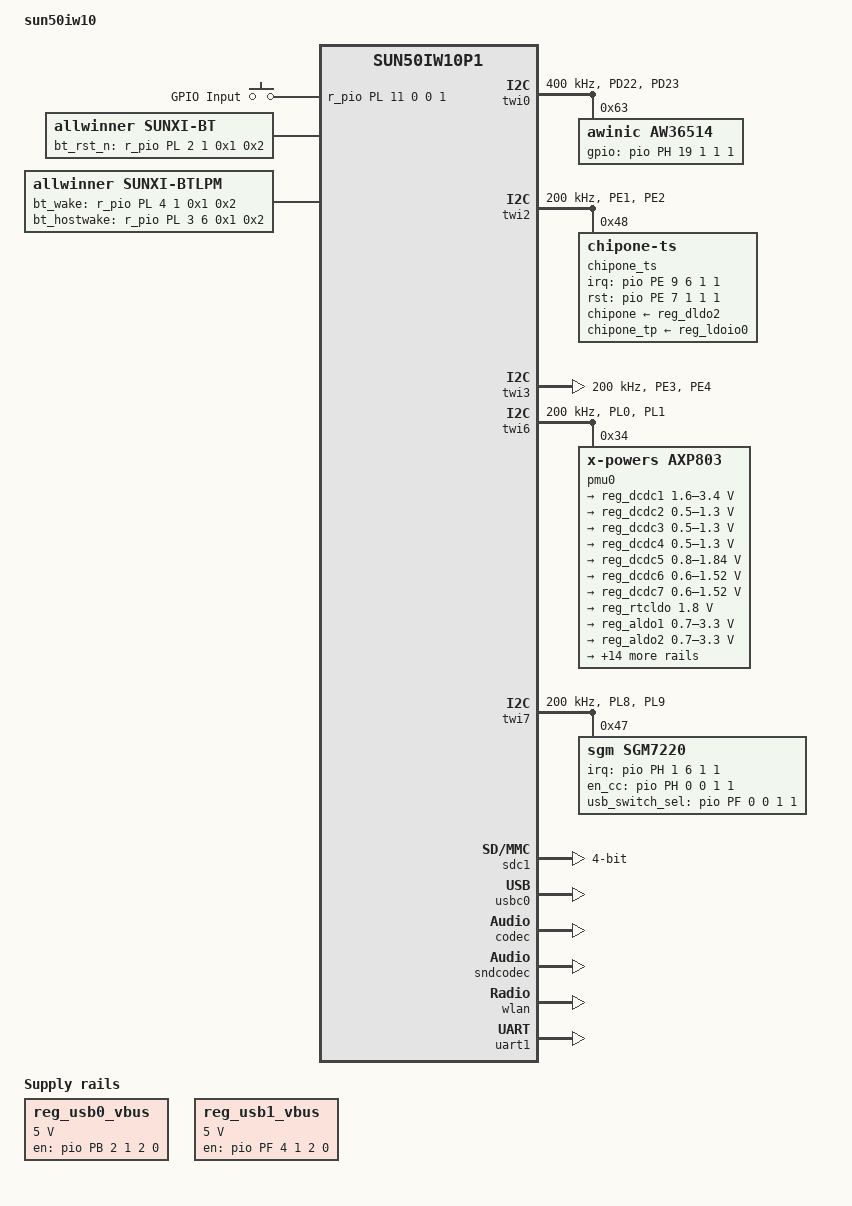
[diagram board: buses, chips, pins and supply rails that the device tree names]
/*
 * Allwinner Technology CO., Ltd. sun50iw10p1 soc board.
 *
 * soc board support.
 */

/dts-v1/;

#include "sun50iw10p1.dtsi"

/{
	model = "sun50iw10";
	compatible = "allwinner,r818", "arm,sun50iw10p1";

	aliases {
		pmu0 = &pmu0;
		standby_param = &standby_param;
	};

	reg_usb0_vbus: usb0-vbus {
		compatible = "regulator-fixed";
		gpio = <&pio PB 2 1 2 0 0>;
		regulator-name = "usb0-vbus";
		regulator-min-microvolt = <5000000>;
		regulator-max-microvolt = <5000000>;
		enable-active-high;
	};

	reg_usb1_vbus: usb1-vbus {
		compatible = "regulator-fixed";
		gpio = <&pio PF 4 1 2 0 1>;
		regulator-name = "usb1-vbus";
		regulator-min-microvolt = <5000000>;
		regulator-max-microvolt = <5000000>;
		enable-active-high;
	};

	soc@03000000 {

		r_pio: pinctrl@07022000 {

			s_twi0_pins_a: s_twi0@0 {
				allwinner,pins = "PL0", "PL1";
				allwinner,pname = "s_twi0_scl", "s_twi0_sda";
				allwinner,function = "s_twi0";
				allwinner,muxsel = <2>;
				allwinner,drive = <1>;
				allwinner,pull = <1>;
			};

			s_twi0_pins_b: s_twi0@1 {
				allwinner,pins = "PL0", "PL1";
				allwinner,function = "io_disabled";
				allwinner,muxsel = <7>;
				allwinner,drive = <1>;
				allwinner,pull = <0>;
			};
			s_twi1_pins_a: s_twi1@0 {
				allwinner,pins = "PL8", "PL9";
				allwinner,pname = "s_twi1_scl", "s_twi1_sda";
				allwinner,function = "s_twi1";
				allwinner,muxsel = <2>;
				allwinner,drive = <1>;
				allwinner,pull = <1>;
			};

			s_twi1_pins_b: s_twi1@1 {
				allwinner,pins = "PL8", "PL9";
				allwinner,function = "io_disabled";
				allwinner,muxsel = <7>;
				allwinner,drive = <1>;
				allwinner,pull = <0>;
			};
		};
		pio: pinctrl@0300b000 {
			twi0_pins_a: twi0@0 {
				allwinner,pins = "PD22", "PD23";
				allwinner,pname = "twi0_scl", "twi0_sda";
				allwinner,function = "twi0";
				allwinner,muxsel = <4>;
				allwinner,drive = <1>;
				allwinner,pull = <0>;
			};

			twi0_pins_b: twi0@1 {
				allwinner,pins = "PD22", "PD23";
				allwinner,function = "io_disabled";
				allwinner,muxsel = <7>;
				allwinner,drive = <1>;
				allwinner,pull = <0>;
			};

			twi1_pins_a: twi1@0 {
				allwinner,pins = "PH2", "PH3";
				allwinner,pname = "twi1_scl", "twi1_sda";
				allwinner,function = "twi1";
				allwinner,muxsel = <2>;
				allwinner,drive = <1>;
				allwinner,pull = <0>;
			};

			twi1_pins_b: twi1@1 {
				allwinner,pins = "PH2", "PH3";
				allwinner,function = "io_disabled";
				allwinner,muxsel = <7>;
				allwinner,drive = <1>;
				allwinner,pull = <0>;
			};

			twi2_pins_a: twi2@0 {
				allwinner,pins = "PE1", "PE2";
				allwinner,pname = "twi2_scl", "twi2_sda";
				allwinner,function = "twi2";
				allwinner,muxsel = <2>;
				allwinner,drive = <1>;
				allwinner,pull = <0>;
			};

			twi2_pins_b: twi2@1 {
				allwinner,pins = "PE1", "PE2";
				allwinner,function = "io_disabled";
				allwinner,muxsel = <7>;
				allwinner,drive = <1>;
				allwinner,pull = <0>;
			};

			twi3_pins_a: twi3@0 {
				allwinner,pins = "PE3", "PE4";
				allwinner,pname = "twi3_scl", "twi3_sda";
				allwinner,function = "twi3";
				allwinner,muxsel = <2>;
				allwinner,drive = <1>;
				allwinner,pull = <1>;
			};

			twi3_pins_b: twi3@1 {
				allwinner,pins = "PE3", "PE4";
				allwinner,function = "io_disabled";
				allwinner,muxsel = <7>;
				allwinner,drive = <1>;
				allwinner,pull = <0>;
			};

			pwm2_pin_a: pwm2@0 {
				allwinner,pins = "PD20";
				allwinner,function = "pwm2";
				allwinner,muxsel = <0x02>;
				allwinner,drive = <0x2>;
				allwinner,pull = <0>;
				allwinner,data = <0xffffffff>;
			};

			pwm2_pin_b: pwm2@1 {
				allwinner,pins = "PD20";
				allwinner,function = "io_disabled";
				allwinner,muxsel = <0x07>;
				allwinner,drive = <0x2>;
				allwinner,pull = <0>;
				allwinner,data = <0xffffffff>;
			};

			pwm3_pin_a: pwm3@0 {
				allwinner,pins = "PD21";
				allwinner,function = "pwm3";
				allwinner,muxsel = <0x03>;
				allwinner,drive = <0x2>;
				allwinner,pull = <0>;
				allwinner,data = <0xffffffff>;
			};

			pwm3_pin_b: pwm3@1 {
				allwinner,pins = "PD21";
				allwinner,function = "io_disabled";
				allwinner,muxsel = <0x07>;
				allwinner,drive = <0x2>;
				allwinner,pull = <0>;
				allwinner,data = <0xffffffff>;
			};
/*
			ledc_pins_a: ledc@0 {
				allwinner,pins = "PH19";
				allwinner,function = "ledc";
				allwinner,muxsel = <5>;
			};

			ledc_pins_b: ledc@1 {
				allwinner,pins = "PH19";
				allwinner,function = "io_disabled";
				allwinner,muxsel = <7>;
			};
*/
			usb1_vbus_pin_a: usb1_vbus_pin@0 {
				allwinner,pins = "PF4";
				allwinner,function = "gpio_out";
				allwinner,muxsel = <0x01>;
				allwinner,drive = <0x2>;
				allwinner,pull = <0>;
				allwinner,data = <0x0>;
			};

			spi0_pins_a: spi0@0 {
				allwinner,pins = "PC2", "PC4", "PC12", "PC15", "PC16";
				allwinner,pname = "spi0_mosi", "spi0_miso",
						  "spi0_sclk", "spi0_wp", "spi0_hold";
				allwinner,function = "spi0";
				allwinner,muxsel = <4>;
				allwinner,drive = <1>;
				allwinner,pull = <0>;
			};

			spi0_pins_b: spi0@1 {
				allwinner,pins = "PC3", "PC7";
				allwinner,pname = "spi0_cs0", "spi0_cs1";
				allwinner,function = "spi0";
				allwinner,muxsel = <4>;
				allwinner,drive = <1>;
				allwinner,pull = <1>;	/* only CS should be pulled up */
			};

			spi0_pins_c: spi0@2 {
				allwinner,pins = "PC2", "PC3", "PC4", "PC7", "PC12", "PC15", "PC16";
				allwinner,function = "io_disabled";
				allwinner,muxsel = <7>;
				allwinner,drive = <1>;
				allwinner,pull = <0>;
			};

			spi1_pins_a: spi1@0 {
				allwinner,pins = "PD11", "PD12", "PD13";
				allwinner,pname = "spi1_sclk", "spi1_mosi",
						  "spi1_miso";
				allwinner,function = "spi1";
				allwinner,muxsel = <4>;
				allwinner,drive = <1>;
				allwinner,pull = <0>;
			};

			spi1_pins_b: spi1@1 {
				allwinner,pins = "PD10";
				allwinner,pname = "spi1_cs0";
				allwinner,function = "spi1";
				allwinner,muxsel = <4>;
				allwinner,drive = <1>;
				allwinner,pull = <1>;	/* only CS should be pulled up */
			};

			spi1_pins_c: spi1@2 {
				allwinner,pins = "PD10", "PD11", "PD12", "PD13";
				allwinner,function = "io_disabled";
				allwinner,muxsel = <7>;
				allwinner,drive = <1>;
				allwinner,pull = <0>;
			};

			spi2_pins_a: spi2@0 {
				allwinner,pins = "PB1", "PB2", "PB3";
				allwinner,pname = "spi2_sclk", "spi2_mosi",
						  "spi2_miso";
				allwinner,function = "spi2";
				allwinner,muxsel = <3>;
				allwinner,drive = <1>;
				allwinner,pull = <0>;
			};

			spi2_pins_b: spi2@1 {
				allwinner,pins = "PB0";
				allwinner,pname = "spi2_cs0";
				allwinner,function = "spi2";
				allwinner,muxsel = <3>;
				allwinner,drive = <1>;
				allwinner,pull = <1>;	/* only CS should be pulled up */
			};

			spi2_pins_c: spi2@2 {
				allwinner,pins = "PB0", "PB1", "PB2", "PB3";
				allwinner,function = "io_disabled";
				allwinner,muxsel = <7>;
				allwinner,drive = <1>;
				allwinner,pull = <0>;
			};
		};

		uart0: uart@05000000 {
			uart-supply = <&reg_dcdc1>;
		};

		keys: gpio-keys {
			compatible = "gpio-keys";
			input {
				gpios = <&r_pio PL 11 0 0 1 1>;
				label = "GPIO Input";
				linux,code = <12>;
				wakeup-source;
			};
		};

		twi0: twi@0x05002000{
			clock-frequency = <400000>;
			pinctrl-0 = <&twi0_pins_a>;
			pinctrl-1 = <&twi0_pins_b>;
			status = "okay";

			aw36514@63 {
				compatible = "awinic,aw36514";
				reg = <0x63>;
				gpios = <&pio PH 19 1 1 1 1>;
				enable-active-high;
				status = "okay";
			};
			aw9201@45 {
				compatible = "awinic,aw9201";
				reg = <0x45>;
				enable-active-high;
				gpios = <&r_pio PL 10 1 1 1 1>;
				status = "disabled";
			};
			/* audio: add ac108 capture */
			/*
                        ac108@3B {
				compatible = "Allwinner,MicArray_0";
				device_type = "MicArray_0";
				reg = <0x3B>;
				regulator_used = <0x0>;
				power_gpio_used = <0x0>;
				reset_gpio_used = <0x0>;
				twi_bus = <0x1>;
				pga_gain = <0x1F>;
				slot_width = <0x20>;
				lrck_period = <0x80>;
				ref_pga_used = <0x1>;
				ref_pga_gain = <0x10>;
				ref_channel = <0x3>;
				debug_mode = <0x0>;
			};
			*/
		};

		twi1: twi@0x05002400{
			clock-frequency = <200000>;
			pinctrl-0 = <&twi1_pins_a>;
			pinctrl-1 = <&twi1_pins_b>;
			status = "disabled";
			ac107@36 {
				compatible = "Allwinnertech,ac107_0";
				gpio-reset = "null";
				reg = <0x36>;
				status = "okay";
			};
		};

		twi2: twi@0x05002800{
			clock-frequency = <200000>;
			pinctrl-0 = <&twi2_pins_a>;
			pinctrl-1 = <&twi2_pins_b>;
			twi-supply = <&reg_dldo2>;
			status = "okay";
			/*
			cst3xx:cst3xx@1A {
				compatible = "cst,cst3xx";
				reg = <0x1A>;
				status = "okay";
			};*/
			chipone_ts:chipone_ts@48 {
				compatible = "chipone-ts";
				reg = <0x48>;
				chipone,irq-gpio = <&pio PE 9 6 1 1 0>;
				chipone,rst-gpio = <&pio PE 7 1 1 1 1>;
				chipone,x-res = <960>;
				chipone,y-res = <480>;
				chipone-supply = <&reg_dldo2>;
				chipone_tp-supply = <&reg_ldoio0>;
				status = "okay";
			};
		};

		twi3: twi@0x05002c00{
			clock-frequency = <200000>;
			pinctrl-0 = <&twi3_pins_a>;
			pinctrl-1 = <&twi3_pins_b>;
			twi-supply = <&reg_dldo2>;
			status = "okay";
		};

		twi6: s_twi@0x07081400{
			clock-frequency = <200000>;
			pinctrl-0 = <&s_twi0_pins_a>;
			pinctrl-1 = <&s_twi0_pins_b>;
			no_suspend = <1>;
			twi_drv_used = <1>;
			status = "okay";

			pmu0: pmu@34 {
				compatible = "x-powers,axp803";
				reg = <0x34>;
				status = "okay";
				interrupts = <0 IRQ_TYPE_LEVEL_LOW>;
				interrupt-parent = <&nmi_intc>;
				x-powers,drive-vbus-en;
				pmu_reset = <0>;
				pmu_irq_wakeup = <1>;
				pmu_hot_shutdown = <1>;

				wakeup-source;

				ac_power_supply: ac-power-supply {
					compatible = "x-powers,axp803-ac-power-supply";
					status = "okay";

					pmu_ac_vol = <4600>;
					pmu_ac_cur = <3000>;

					wakeup_ac_in;
					wakeup_ac_out;
				};

				usb_power_supply: usb_power_supply {
					compatible = "x-powers,axp803-usb-power-supply";
					status = "okay";

					pmu_usbpc_vol = <4600>;
					pmu_usbpc_cur = <500>;
					pmu_usbad_vol = <4600>;
					pmu_usbad_cur = <2500>;

					wakeup_usb_in;
					wakeup_usb_out;
				};

				battery_power_supply: battery-power-supply {
					compatible = "x-powers,axp803-battery-power-supply";
					status = "okay";

					pmu_chg_ic_temp = <0>;
					pmu_battery_rdc= <219>;
					pmu_battery_cap = <1005>;
					pmu_runtime_chgcur = <1500>;
					pmu_suspend_chgcur = <1500>;
					pmu_bat_temp_enable = <1>;
					pmu_bat_charge_ltf = <2400>;
					pmu_bat_charge_htf = <360>;
					pmu_bat_shutdown_ltf = <3670>;
					pmu_bat_shutdown_htf = <237>;
					pmu_bat_temp_para1 = <7005>;
					pmu_bat_temp_para2 = <4292>;
					pmu_bat_temp_para3 = <3400>;
					pmu_bat_temp_para4 = <2711>;
					pmu_bat_temp_para5 = <2177>;
					pmu_bat_temp_para6 = <1762>;
					pmu_bat_temp_para7 = <1434>;
					pmu_bat_temp_para8 = <966>;
					pmu_bat_temp_para9 = <665>;
					pmu_bat_temp_para10 = <467>;
					pmu_bat_temp_para11 = <393>;
					pmu_bat_temp_para12 = <333>;
					pmu_bat_temp_para13 = <283>;
					pmu_bat_temp_para14 = <241>;
					pmu_bat_temp_para15 = <178>;
					pmu_bat_temp_para16 = <133>;
					pmu_shutdown_chgcur = <500>;
					pmu_init_chgvol = <4400>;
					pmu_battery_warning_level1 = <15>;
					pmu_battery_warning_level2 = <0>;
					pmu_chgled_type = <0>;
					pmu_bat_para1 = <0>;
					pmu_bat_para2 = <0>;
					pmu_bat_para3 = <0>;
					pmu_bat_para4 = <0>;
					pmu_bat_para5 = <0>;
					pmu_bat_para6 = <0>;
					pmu_bat_para7 = <1>;
					pmu_bat_para8 = <1>;
					pmu_bat_para9 = <2>;
					pmu_bat_para10 = <4>;
					pmu_bat_para11 = <6>;
					pmu_bat_para12 = <12>;
					pmu_bat_para13 = <19>;
					pmu_bat_para14 = <30>;
					pmu_bat_para15 = <40>;
					pmu_bat_para16 = <44>;
					pmu_bat_para17 = <48>;
					pmu_bat_para18 = <51>;
					pmu_bat_para19 = <54>;
					pmu_bat_para20 = <60>;
					pmu_bat_para21 = <64>;
					pmu_bat_para22 = <69>;
					pmu_bat_para23 = <72>;
					pmu_bat_para24 = <76>;
					pmu_bat_para25 = <79>;
					pmu_bat_para26 = <83>;
					pmu_bat_para27 = <85>;
					pmu_bat_para28 = <90>;
					pmu_bat_para29 = <95>;
					pmu_bat_para30 = <97>;
					pmu_bat_para31 = <100>;
					pmu_bat_para32 = <100>;

					wakeup_bat_out;
					/* wakeup_bat_in; */
					/* wakeup_bat_charging; */
					 wakeup_bat_charge_over; 
					/* wakeup_low_warning1; */
					/* wakeup_low_warning2; */
					/* wakeup_bat_untemp_work; */
					/* wakeup_bat_ovtemp_work; */
					/* wakeup_bat_untemp_chg; */
					/* wakeup_bat_ovtemp_chg; */
				};

				powerkey0: powerkey@0 {
					status = "okay";
					compatible = "x-powers,axp2101-pek";
					pmu_powkey_off_time = <10000>;
					pmu_powkey_off_func = <1>;
					pmu_powkey_off_en = <1>;
					pmu_powkey_long_time = <1500>;
					pmu_powkey_on_time = <512>;
					wakeup_rising;
					wakeup_falling;
				};

				regulator0: regulators@0 {
					reg_dcdc1: dcdc1 {
						regulator-name = "axp803-dcdc1";
						regulator-min-microvolt = <1600000>;
						regulator-max-microvolt = <3400000>;
						regulator-boot-on;
					};
					reg_dcdc2: dcdc2 {
						regulator-name = "axp803-dcdc2";
						regulator-min-microvolt = <500000>;
						regulator-max-microvolt = <1300000>;
						regulator-boot-on;
						regulator-always-on;
					};
					reg_dcdc3: dcdc3 {
						regulator-name = "axp803-dcdc3";
						regulator-min-microvolt = <500000>;
						regulator-max-microvolt = <1300000>;
						regulator-boot-on;
						regulator-always-on;
					};
					reg_dcdc4: dcdc4 {
						regulator-name = "axp803-dcdc4";
						regulator-min-microvolt = <500000>;
						regulator-max-microvolt = <1300000>;
						regulator-boot-on;
						regulator-always-on;
					};
					reg_dcdc5: dcdc5 {
						regulator-name = "axp803-dcdc5";
						regulator-min-microvolt = <800000>;
						regulator-max-microvolt = <1840000>;
						regulator-always-on;
					};
					reg_dcdc6: dcdc6 {
						regulator-name = "axp803-dcdc6";
						regulator-min-microvolt = <600000>;
						regulator-max-microvolt = <1520000>;
					};
					reg_dcdc7: dcdc7 {
						regulator-name = "axp803-dcdc7";
						regulator-min-microvolt = <600000>;
						regulator-max-microvolt = <1520000>;
					};
					reg_rtcldo: rtcldo {
						/* RTC_LDO is a fixed, always-on regulator */
						regulator-name = "axp803-rtcldo";
						regulator-min-microvolt = <1800000>;
						regulator-max-microvolt = <1800000>;
						regulator-boot-on;
						regulator-always-on;
					};
					reg_aldo1: aldo1 {
						regulator-name = "axp803-aldo1";
						regulator-min-microvolt = <700000>;
						regulator-max-microvolt = <3300000>;
						regulator-boot-on;
						regulator-always-on;
					};
					reg_aldo2: aldo2 {
						regulator-name = "axp803-aldo2";
						regulator-min-microvolt = <700000>;
						regulator-max-microvolt = <3300000>;
						regulator-always-on;
					};
					reg_aldo3: aldo3 {
						regulator-name = "axp803-aldo3";
						regulator-min-microvolt = <700000>;
						regulator-max-microvolt = <3300000>;
						regulator-always-on;
						regulator-boot-on;
					};
					reg_dldo1: dldo1 {
						regulator-name = "axp803-dldo1";
						regulator-min-microvolt = <3300000>;
						regulator-max-microvolt = <3300000>;
					};
					reg_dldo2: dldo2 {
						regulator-name = "axp803-dldo2";
						regulator-min-microvolt = <700000>;
						regulator-max-microvolt = <4200000>;
					};
					reg_dldo3: dldo3 {
						regulator-name = "axp803-dldo3";
						regulator-min-microvolt = <700000>;
						regulator-max-microvolt = <3300000>;
					};
					reg_dldo4: dldo4 {
						regulator-name = "axp803-dldo4";
						regulator-min-microvolt = <700000>;
						regulator-max-microvolt = <3300000>;
					};
					reg_eldo1: eldo1 {
						regulator-name = "axp803-eldo1";
						regulator-min-microvolt = <700000>;
						regulator-max-microvolt = <1900000>;
					};
					reg_eldo2: eldo2 {
						regulator-name = "axp803-eldo2";
						regulator-min-microvolt = <700000>;
						regulator-max-microvolt = <1900000>;
					};
					reg_eldo3: eldo3 {
						regulator-name = "axp803-eldo3";
						regulator-min-microvolt = <700000>;
						regulator-max-microvolt = <1900000>;
					};
					reg_fldo1: fldo1 {
						regulator-name = "axp803-fldo1";
						regulator-min-microvolt = <700000>;
						regulator-max-microvolt = <1450000>;
						regulator-always-on;
					};
					reg_fldo2: fldo2 {
						regulator-name = "axp803-fldo2";
						regulator-min-microvolt = <700000>;
						regulator-max-microvolt = <1450000>;
					};
					reg_ldoio0: ldoio0 {
						regulator-name = "axp803-ldoio0";
						regulator-min-microvolt = <700000>;
						regulator-max-microvolt = <3300000>;
					};
					reg_ldoio1: ldoio1 {
						regulator-name = "axp803-ldoio1";
						regulator-min-microvolt = <700000>;
						regulator-max-microvolt = <3300000>;
					};
					reg_dc1sw: dc1sw {
						regulator-name = "axp803-dc1sw";
					};
					reg_drivevbus: drivevbus {
						regulator-name = "axp803-drivevbus";
					};
				};

				virtual-dcdc1 {
					compatible = "xpower-vregulator,dcdc1";
					dcdc1-supply = <&reg_dcdc1>;
				};
				virtual-dcdc2 {
					compatible = "xpower-vregulator,dcdc2";
					dcdc2-supply = <&reg_dcdc2>;
				};
				virtual-dcdc3 {
					compatible = "xpower-vregulator,dcdc3";
					dcdc3-supply = <&reg_dcdc3>;
				};
				virtual-dcdc4 {
					compatible = "xpower-vregulator,dcdc4";
					dcdc4-supply = <&reg_dcdc4>;
				};
				virtual-dcdc5 {
					compatible = "xpower-vregulator,dcdc5";
					dcdc5-supply = <&reg_dcdc5>;
				};
				virtual-dcdc6 {
					compatible = "xpower-vregulator,dcdc6";
					dcdc6-supply = <&reg_dcdc6>;
				};
				virtual-dcdc7 {
					compatible = "xpower-vregulator,dcdc7";
					dcdc7-supply = <&reg_dcdc7>;
				};
				virtual-rtcldo {
					compatible = "xpower-vregulator,rtcldo";
					rtcldo-supply = <&reg_rtcldo>;
				};
				virtual-aldo1 {
					compatible = "xpower-vregulator,aldo1";
					aldo1-supply = <&reg_aldo1>;
				};
				virtual-aldo2 {
					compatible = "xpower-vregulator,aldo2";
					aldo2-supply = <&reg_aldo2>;
				};
				virtual-aldo3 {
					compatible = "xpower-vregulator,aldo3";
					aldo3-supply = <&reg_aldo3>;
				};
				virtual-dldo1 {
					compatible = "xpower-vregulator,dldo1";
					dldo1-supply = <&reg_dldo1>;
				};
				virtual-dldo2 {
					compatible = "xpower-vregulator,dldo2";
					dldo2-supply = <&reg_dldo2>;
				};
				virtual-dldo3 {
					compatible = "xpower-vregulator,dldo3";
					dldo3-supply = <&reg_dldo3>;
				};
				virtual-dldo4 {
					compatible = "xpower-vregulator,dldo4";
					dldo4-supply = <&reg_dldo4>;
				};
				virtual-eldo1 {
					compatible = "xpower-vregulator,eldo1";
					eldo1-supply = <&reg_eldo1>;
				};
				virtual-eldo2 {
					compatible = "xpower-vregulator,eldo2";
					eldo2-supply = <&reg_eldo2>;
				};
				virtual-eldo3 {
					compatible = "xpower-vregulator,eldo3";
					eldo3-supply = <&reg_eldo3>;
				};
				virtual-fldo1 {
					compatible = "xpower-vregulator,fldo1";
					fldo1-supply = <&reg_fldo1>;
				};
				virtual-fldo2 {
					compatible = "xpower-vregulator,fldo2";
					fldo2-supply = <&reg_fldo2>;
				};
				virtual-ldoio0 {
					compatible = "xpower-vregulator,ldoio0";
					ldoio0-supply = <&reg_ldoio0>;
				};
				virtual-ldoio1 {
					compatible = "xpower-vregulator,ldoio1";
					ldoio1-supply = <&reg_ldoio1>;
				};
				virtual-dc1sw {
					compatible = "xpower-vregulator,dc1sw";
					dc1sw-supply = <&reg_dc1sw>;
				};
				virtual-drivevbus {
					compatible = "xpower-vregulator,drivevbus";
					drivevbus-supply = <&reg_drivevbus>;
				};

				axp_gpio0: axp_gpio@0 {
					gpio-controller;
					#size-cells = <0>;
					#gpio-cells = <6>;
					status = "okay";
				};
			};
		};

		standby_param: standby_param {
			vdd-cpu = <0x00000006>;
			vdd-sys = <0x00000008>;
			vcc-pll = <0x00000100>;

			osc24m-on = <0x1>;
		};
		s_cir0: s_cir@07040000 {
			status = "disabled";
		};

		ir1: ir@0x05071000 {
			status = "disabled";
		};
		twi7: s_twi@0x07081800{
			clock-frequency = <200000>;
			pinctrl-0 = <&s_twi1_pins_a>;
			pinctrl-1 = <&s_twi1_pins_b>;
			status = "okay";
			sgm7220:sgm7220@47 {
				compatible = "sgm,sgm7220";
				sgm7220,irq_gpio = <&pio PH 1 6 1 1 0xffffffff>;
				sgm7220,en_cc_gpio = <&pio PH 0 0 1 1 0xffffffff>;
				sgm7220,usb_switch_sel = <&pio PF 0 0 1 1 0xffffffff>;
				reg = <0x47>;
				status = "okay";
			};
		};

		spi0: spi@05010000 {
			pinctrl-0 = <&spi0_pins_a &spi0_pins_b>;
			pinctrl-1 = <&spi1_pins_c>;
			spi_slave_mode = <0>;
			status = "disabled";
			spi_board0 {
				device_type = "spi_board0";
				compatible = "rohm,dh2228fv";
				spi-max-frequency = <0x5f5e100>;
				reg = <0x0>;
				spi-rx-bus-width = <0x1>;
				spi-tx-bus-width = <0x1>;
				status = "disabled";
			};
		};

		spi1: spi@05011000 {
			pinctrl-0 = <&spi1_pins_a &spi1_pins_b>;
			pinctrl-1 = <&spi1_pins_c>;
			spi_slave_mode = <0>;
			status = "disabled";
			spi_board1 {
				device_type = "spi_board1";
				compatible = "rohm,dh2228fv";
				spi-max-frequency = <0x5f5e100>;
				reg = <0x0>;
				spi-rx-bus-width = <0x1>;
				spi-tx-bus-width = <0x1>;
				status = "disabled";
			};
		};

		spi2: spi@05012000 {
			pinctrl-0 = <&spi2_pins_a &spi2_pins_b>;
			pinctrl-1 = <&spi2_pins_c>;
			spi_slave_mode = <0>;
			status = "disabled";
			spi_board1 {
				device_type = "spi_board2";
				compatible = "rohm,dh2228fv";
				spi-max-frequency = <0x5f5e100>;
				reg = <0x0>;
				spi-rx-bus-width = <0x1>;
				spi-tx-bus-width = <0x1>;
				status = "disabled";
			};
		};

		pwm3: pwm3@0300a000 {
			pinctrl-names = "active", "sleep";
			pinctrl-0 = <&pwm3_pin_a>;
			pinctrl-1 = <&pwm3_pin_b>;
		};

		ledc: ledc@0x05018000 {
			pinctrl-0 = <&ledc_pins_a>;
			pinctrl-1 = <&ledc_pins_b>;
			
			status	  = "disabled";
		};
		pcie: pcie@0x05400000{
			status = "disabled";
		};
		gpadc:gpadc{
			compatible = "allwinner,sunxi-gpadc";
			reg = <0x0 0x05070000 0x0 0x400>;
			interrupts = <GIC_SPI 20 IRQ_TYPE_NONE>;
			clocks = <&clk_gpadc>;
			channel_num = <2>;
			channel_select = <0x02>;
			channel_data_select = <0>;
			channel_compare_select = <0x02>;
			channel_cld_select = <0x02>;
			channel_chd_select = <0>;
			channel1_compare_lowdata = <1700000>;
			channel1_compare_higdata = <200000>;
			status = "disabled";
			key_cnt = <1>;
			key0_vol = <1500>;
			key0_val = <139>;
		};

		sdc2: sdmmc@04022000 {
			non-removable;
			bus-width = <8>;
			mmc-ddr-1_8v;
			mmc-hs200-1_8v;
			mmc-hs400-1_8v;
			no-sdio;
			no-sd;
			ctl-spec-caps = <0x8>;
			cap-mmc-highspeed;
			sunxi-power-save-mode;
			sunxi-dis-signal-vol-sw;
			max-frequency = <100000000>;
			vmmc-supply = <&reg_dcdc1>;
			/*emmc io vol 3.3v*/
			/*vqmmc-supply = <&reg_aldo1>;*/
			/*emmc io vol 1.8v*/
			vqmmc-supply = <&reg_eldo1>;
			status = "disabled";
		};

		sdc0: sdmmc@04020000 {
			bus-width = <4>;
			cd-gpios = <&pio PF 6 6 1 3 0xffffffff>;
			/*non-removable;*/
			/*broken-cd;*/
			/*cd-inverted*/
			/*data3-detect;*/
			/*card-pwr-gpios = <&pio PH 14 1 1 2 0xffffffff>;*/
			cd-used-24M;
			cap-sd-highspeed;
			sd-uhs-sdr50;
			sd-uhs-ddr50;
			sd-uhs-sdr104;
			no-sdio;
			no-mmc;
			sunxi-power-save-mode;
			/*sunxi-dis-signal-vol-sw;*/
			max-frequency = <150000000>;
			ctl-spec-caps = <0x8>;
			vmmc-supply = <&reg_dcdc1>;
			vqmmc33sw-supply = <&reg_dcdc1>;
			vdmmc33sw-supply = <&reg_dcdc1>;
			vqmmc18sw-supply = <&reg_eldo1>;
			vdmmc18sw-supply = <&reg_eldo1>;
			status = "disable";
		};

		sdc1: sdmmc@04021000 {
			bus-width = <4>;
			no-mmc;
			no-sd;
			cap-sd-highspeed;
			/*sd-uhs-sdr12*/
			/*sd-uhs-sdr25*/
			/*sd-uhs-sdr50;*/
			/*sd-uhs-ddr50;*/
			/*sd-uhs-sdr104*/
			/*sunxi-power-save-mode;*/
			/*sunxi-dis-signal-vol-sw;*/
			sdio-used-1v8;
			cap-sdio-irq;
			keep-power-in-suspend;
			ignore-pm-notify;
			max-frequency = <50000000>;
			ctl-spec-caps = <0x8>;
			status = "okay";
		};

/*
 *usb_used: usb controller enable. 0-disable, 1-enable.
 *usb_port_type: usb mode. 0-device, 1-host, 2-otg.
 *usb_detect_type: usb hotplug detect mode. 0-none, 1-vbus/id detect, 2-id/dpdm detect.
 *usb_drv_vbus_gpio：USB DRY_VBUS pin config or "axp_ctrl"
 */
		usbc0:usbc0@0 {
			device_type = "usbc0";
			usb_port_type = <0x2>;
			usb_detect_type = <0x1>;
			usb_id_gpio = "extcon";
			extcon = <&sgm7220>;
			usb_det_vbus_gpio   = "axp_ctrl";
			det_vbus_supply = <&usb_power_supply>;
			usb_regulator_io = "nocare";
			usb_wakeup_suspend = <0>;
			usb_luns = <3>;
			usb_serial_unique = <1>;
			usb_serial_number = "20080411";
			rndis_wceis = <1>;
			status = "okay";
		};

		udc:udc-controller@0x05100000 {
			det_vbus_supply = <&usb_power_supply>;
		};

		ehci0:ehci0-controller@0x05101000 {
			otg-supply = <&reg_usb0_vbus>;
			drvvbus-supply = <&reg_drivevbus>;
		};

		ohci0:ohci0-controller@0x05101400 {
			otg-supply = <&reg_usb0_vbus>;
			drvvbus-supply = <&reg_drivevbus>;
		};

		usbc1:usbc1@0 {
			device_type = "usbc1";
			usb_regulator_io = "nocare";
			usb_wakeup_suspend = <0>;
			status = "disabled";
		};

		ehci1:ehci1-controller@0x05200000 {
			otg-supply = <&reg_usb0_vbus>;
			drvvbus-supply = <&reg_usb1_vbus>;
			status = "disabled";
		};

		ohci1:ohci1-controller@0x05200400 {
			otg-supply = <&reg_usb0_vbus>;
			drvvbus-supply = <&reg_usb1_vbus>;
			status = "disabled";
		};

		/* Audio Driver Modules */
		codec:codec@0x05096000 {
			/* MIC and headphone gain setting */
			mic1gain 	= <0x17>;
			mic2gain 	= <0x17>;
			headphonegain	= <0x00>;
			/* adc/dac DRC/HPF func enabled */
			adcdrc_cfg 	= <0x00>;
			adchpf_cfg 	= <0x01>;
			dacdrc_cfg 	= <0x00>;
			dachpf_cfg 	= <0x00>;
			/* Volume about */
			digital_vol 	= <0x00>;
			lineout_vol 	= <0x1a>;
			dac_digital_vol = <0x1A0A0>;
			/* Pa enabled about */
			pa_mode         = <0x02>;
			pa_pulsewidth   = <0x02>;
			pa_level 	= <0x01>;
			pa_msleep_time 	= <0xa0>;
			gpio-spk = <&pio PF 2 1 1 1 1>;
			/* regulator about */
			avcc-supply = <&reg_aldo1>;
			cpvin-supply = <&reg_eldo1>;
			amic3v3-supply = <&reg_ldoio1>;
			status = "okay";
		};

		cpudai:cpudai-controller@0x050906000 {
			status = "okay";
		};

		sndcodec:sound@0 {
			extcon = <&sgm7220>;
			status = "okay";
		};

		spdif:spdif-controller@0x05094000{
			status = "disabled";
		};

		sndspdif:sound@1{
			status = "disabled";
		};

		dmic:dmic-controller@0x05095000{
			status = "disabled";
		};

		snddmic:sound@2{
			status = "disabled";
		};

		daudio0:daudio@0x05090000 {
			mclk_div 	= <0x02>;
			frametype 	= <0x00>;
			tdm_config 	= <0x01>;
			sign_extend 	= <0x00>;
			tx_data_mode 	= <0x00>;
			rx_data_mode 	= <0x00>;
			msb_lsb_first 	= <0x00>;
			pcm_lrck_period = <0x80>;
			slot_width_select = <0x20>;
			status = "disabled";
		};

		snddaudio0:sound@3 {
			sunxi,snddaudio-codec = "ac107.1-0036";
			sunxi,snddaudio-codec-dai = "ac107-pcm0";
			audio_format 	= <0x01>;
			daudio_master 	= <0x04>;
			signal_inversion  = <0x01>;
			status = "disabled";
		};

		daudio1:daudio@0x05091000 {
			mclk_div 	= <0x01>;
			frametype 	= <0x00>;
			tdm_config 	= <0x01>;
			sign_extend 	= <0x00>;
			tx_data_mode 	= <0x00>;
			rx_data_mode 	= <0x00>;
			msb_lsb_first 	= <0x00>;
			pcm_lrck_period = <0x20>;
			slot_width_select = <0x20>;
			status = "disabled";
		};

		snddaudio1:sound@4 {
			audio_format 	= <0x01>;
			daudio_master 	= <0x04>;
			signal_inversion  = <0x01>;
			status = "disabled";
		};

		daudio2:daudio@0x05092000 {
			mclk_div 	= <0x01>;
			frametype 	= <0x00>;
			tdm_config 	= <0x01>;
			sign_extend 	= <0x00>;
			tx_data_mode 	= <0x00>;
			rx_data_mode 	= <0x00>;
			msb_lsb_first 	= <0x00>;
			pcm_lrck_period = <0x20>;
			slot_width_select = <0x20>;
			status = "disabled";
		};

		snddaudio2:sound@5 {
			audio_format 	= <0x01>;
			daudio_master 	= <0x04>;
			signal_inversion  = <0x01>;
			status = "disabled";
		};

		daudio3:daudio@0x05093000 {
			mclk_div 	= <0x01>;
			frametype 	= <0x00>;
			tdm_config 	= <0x01>;
			sign_extend 	= <0x00>;
			tx_data_mode 	= <0x00>;
			rx_data_mode 	= <0x00>;
			msb_lsb_first 	= <0x00>;
			pcm_lrck_period = <0x20>;
			slot_width_select = <0x20>;
			status = "disabled";
		};

		snddaudio3:sound@6 {
			audio_format 	= <0x01>;
			daudio_master 	= <0x04>;
			signal_inversion  = <0x01>;
			status = "disabled";
		};
		vind0:vind@0 {
			vind0_clk = <336000000>;
			vind0_isp = <327000000>;
			status = "okay";

			actuator0:actuator@0 {
				device_type = "actuator0";
				actuator0_name = "ad5820_act";
				actuator0_slave = <0x18>;
				actuator0_af_pwdn = <>;
				actuator0_afvdd = "afvcc-csi";
				actuator0_afvdd_vol = <2800000>;
				status = "disabled";
			};
			flash0:flash@0 {
				device_type = "flash0";
				flash0_type = <2>;
				flash0_en = <>;
				flash0_mode = <>;
				flash0_flvdd = "";
				flash0_flvdd_vol = <>;
				device_id = <0>;
				status = "disabled";
			};
			sensor0:sensor@0 {
				device_type = "sensor0";
				sensor0_mname = "imx278_mipi";
				sensor0_twi_cci_id = <2>;
				sensor0_twi_addr = <0x20>;
				sensor0_mclk_id = <0>;
				sensor0_pos = "rear";
				sensor0_isp_used = <1>;
				sensor0_fmt = <1>;
				sensor0_stby_mode = <0>;
				sensor0_vflip = <0>;
				sensor0_hflip = <0>;
				sensor0_iovdd-supply = <&reg_dldo2>;
				sensor0_iovdd_vol = <1800000>;
				sensor0_avdd-supply = <&reg_dldo3>;
				sensor0_avdd_vol = <2800000>;
				sensor0_dvdd-supply = <&reg_eldo2>;
				sensor0_dvdd_vol = <1200000>;
				sensor0_power_en = <>;
				sensor0_reset = <&pio PE 9 1 0 1 0>;
				sensor0_pwdn = <&pio PE 8 1 0 1 0>;
				status	= "disabled";
			};
			sensor1:sensor@1 {
				device_type = "sensor1";
				sensor1_mname = "sc031gs_mipi";
				sensor1_twi_cci_id = <3>;
				sensor1_twi_addr = <0x60>;
				sensor1_mclk_id = <1>;
				sensor1_pos = "front";
				sensor1_isp_used = <1>;
				sensor1_fmt = <1>;
				sensor1_stby_mode = <0>;
				sensor1_vflip = <0>;
				sensor1_hflip = <0>;
				sensor1_iovdd-supply = <&reg_dldo2>;
				sensor1_iovdd_vol = <1800000>;
				sensor1_avdd-supply = <&reg_dldo3>;
				sensor1_avdd_vol = <2800000>;
				sensor1_dvdd-supply = <&reg_eldo2>;
				sensor1_dvdd_vol = <1500000>;
				sensor0_power_en = <>;
				//sensor1_reset = <&pio PE 7 1 0 1 0>;
				sensor1_pwdn = <&pio PE 6 1 0 1 0>;
				status	= "okay";
			};
			vinc0:vinc@0 {
				vinc0_csi_sel = <1>;
				vinc0_mipi_sel = <1>;
				vinc0_isp_sel = <0>;
				vinc0_isp_tx_ch = <0>;
				vinc0_tdm_rx_sel = <0>;
				vinc0_rear_sensor_sel = <1>;
				vinc0_front_sensor_sel = <1>;
				vinc0_sensor_list = <0>;
				status = "okay";
			};
			vinc1:vinc@1 {
				vinc1_csi_sel = <1>;
				vinc1_mipi_sel = <1>;
				vinc1_isp_sel = <0>;
				vinc1_isp_tx_ch = <0>;
				vinc1_tdm_rx_sel = <0>;
				vinc1_rear_sensor_sel = <1>;
				vinc1_front_sensor_sel = <1>;
				vinc1_sensor_list = <0>;
				status = "disabled";
			};
			vinc2:vinc@2 {
				vinc2_csi_sel = <1>;
				vinc2_mipi_sel = <1>;
				vinc2_isp_sel = <0>;
				vinc2_isp_tx_ch = <0>;
				vinc2_tdm_rx_sel = <1>;
				vinc2_rear_sensor_sel = <0>;
				vinc2_front_sensor_sel = <1>;
				vinc2_sensor_list = <0>;
				status = "disabled";
			};
			vinc3:vinc@3 {
				vinc3_csi_sel = <1>;
				vinc3_mipi_sel = <1>;
				vinc3_isp_sel = <0>;
				vinc3_isp_tx_ch = <0>;
				vinc3_tdm_rx_sel = <1>;
				vinc3_rear_sensor_sel = <0>;
				vinc3_front_sensor_sel = <1>;
				vinc3_sensor_list = <0>;
				status = "disabled";
			};
		};
/*----------------------------------------------------------------------------------
disp init configuration

disp_mode             (0:screen0<screen0,fb0>)
screenx_output_type   (0:none; 1:lcd; 2:tv; 3:hdmi;5:vdpo)
screenx_output_mode   (used for hdmi output, 0:480i 1:576i 2:480p 3:576p 4:720p50)
                      (5:720p60 6:1080i50 7:1080i60 8:1080p24 9:1080p50 10:1080p60)
screenx_output_format (for hdmi, 0:RGB 1:yuv444 2:yuv422 3:yuv420)
screenx_output_bits   (for hdmi, 0:8bit 1:10bit 2:12bit 2:16bit)
screenx_output_eotf   (for hdmi, 0:reserve 4:SDR 16:HDR10 18:HLG)
screenx_output_cs     (for hdmi, 0:undefined  257:BT709 260:BT601  263:BT2020)
screenx_output_dvi_hdmi (for hdmi, 0:undefined 1:dvi mode 2:hdmi mode)
screen0_output_range   (for hdmi, 0:default 1:full 2:limited)
screen0_output_scan    (for hdmi, 0:no data 1:overscan 2:underscan)
screen0_output_aspect_ratio  (for hdmi, 8-same as original picture 9-4:3 10-16:9 11-14:9)
fbx format            (4:RGB655 5:RGB565 6:RGB556 7:ARGB1555 8:RGBA5551 9:RGB888 10:ARGB8888 12:ARGB4444)
fbx pixel sequence    (0:ARGB 1:BGRA 2:ABGR 3:RGBA)
fb0_scaler_mode_enable(scaler mode enable, used FE)
fbx_width,fbx_height  (framebuffer horizontal/vertical pixels, fix to output resolution while equal 0)
lcdx_backlight        (lcd init backlight,the range:[0,256],default:197
lcdx_yy               (lcd init screen bright/contrast/saturation/hue, value:0~100, default:50/50/57/50)
lcd0_contrast         (LCD contrast, 0~100)
lcd0_saturation       (LCD saturation, 0~100)
lcd0_hue              (LCD hue, 0~100)
framebuffer software rotation setting:
disp_rotation_used:   (0:disable; 1:enable,you must set fbX_width to lcd_y,
set fbX_height to lcd_x)
degreeX:              (X:screen index; 0:0 degree; 1:90 degree; 3:270 degree)
degreeX_Y:            (X:screen index; Y:layer index 0~15; 0:0 degree; 1:90 degree; 3:270 degree)
devX_output_type : config output type in bootGUI framework in UBOOT-2018.
				   (0:none; 1:lcd; 2:tv; 4:hdmi;)
devX_output_mode : config output resolution(see include/video/sunxi_display2.h) of bootGUI framework in UBOOT-2018
devX_screen_id   : config display index of bootGUI framework in UBOOT-2018
devX_do_hpd      : whether do hpd detectation or not in UBOOT-2018
chn_cfg_mode     : Hardware DE channel allocation config. 0:single display with 6
				   channel, 1:dual display with 4 channel in main display and 2 channel in second
                   display, 2:dual display with 3 channel in main display and 3 channel in second
                   in display.
----------------------------------------------------------------------------------*/
		disp: disp@06000000 {
			disp_init_enable         = <1>;
			disp_mode                = <0>;

			screen0_output_type      = <1>;
			screen0_output_mode      = <4>;

			screen1_output_type      = <3>;
			screen1_output_mode      = <10>;

			screen1_output_format    = <0>;
			screen1_output_bits      = <0>;
			screen1_output_eotf      = <4>;
			screen1_output_cs        = <257>;
			screen1_output_dvi_hdmi  = <2>;
			screen1_output_range     = <2>;
			screen1_output_scan      = <0>;
			screen1_output_aspect_ratio = <8>;

			dev0_output_type         = <1>;
			dev0_output_mode         = <4>;
			dev0_screen_id           = <0>;
			dev0_do_hpd              = <0>;

			dev1_output_type         = <4>;
			dev1_output_mode         = <10>;
			dev1_screen_id           = <1>;
			dev1_do_hpd              = <1>;

			def_output_dev           = <0>;
			hdmi_mode_check          = <1>;

			fb0_format               = <0>;
			fb0_width                = <0>;
			fb0_height               = <0>;

			fb1_format               = <0>;
			fb1_width                = <0>;
			fb1_height               = <0>;
			chn_cfg_mode             = <1>;

			disp_para_zone           = <1>;
			/*VCC-LCD*/
			dc1sw-supply = <&reg_dc1sw>;
			/*VCC-DSI*/
			eldo3-supply = <&reg_eldo3>;
			/*VCC-PD*/
			/*dcdc1-supply = <&reg_dcdc1>;*/
		};
		eink: eink@06400000 {
			status                  = "disabled";
		};
		/*----------------------------------------------------------------------------
*tps65185
*-----------------------------------------------------------------------------
*tps65185 ic wakeup&vcom
*-----------------------------------------------------------------------------*/
		tps65185: tps65185@68 {
			tps65185_used             = <0>;
			tps65185_name             = "tps65185";
			tps65185_twi_id           = <0>;
			tps65185_twi_addr         = <0x68>;
			tps65185_wakeup           = <&pio PH 13 1 1 3 1>;
			tps65185_vcom             = <&pio PH 12 1 1 3 1>;
			tps65185_powerup          = <&pio PD 23 1 1 3 0>;
			dc1sw-supply		  = <&reg_dc1sw>;
			tps65185_ldo		  = "dc1sw";
		};

		tps65185_slave: tps65185_slave@68 {
			tps65185_used             = <0>;
			tps65185_name             = "tps65185_slave";
			tps65185_twi_id           = <1>;
			tps65185_twi_addr         = <0x68>;
			/* the follow gpio is shared with master tps65185 */
		/*	tps65185_wakeup           = port:PH06<1><1><3><1>
			tps65185_vcom             = port:PB08<1><1><3><1>
			tps65185_powerup          = port:PH04<1><1><3><0>
			tps65185_powergood        = port:PD23<0><1><3><1>
			tps65185_int              = port:PH05<6><default><3><default>
			tps65185_ldo              = "vcc-pmic1"
			*/
		};
/*----------------------------------------------------------------------------------
 */
		eink: eink@06400000 {
			eink_panel_name     = "default_eink";
			eink_scan_mode      = <0>;
			eink_width          = <1024>;
			eink_height         = <758>;
			eink_bits           = <5>;
			eink_data_len       = <8>;
			eink_lsl            = <6>;
			eink_lbl            = <6>;
			eink_lel            = <38>;
			eink_fsl            = <2>;
			eink_fbl            = <4>;
			eink_fel            = <5>;
			eink_lgonl          = <262>;
			eink_gdck_sta       = <4>;
			eink_gdoe_start_line= <2>;
			eink_fresh_hz       = <85>;
			eink_gray_level     = <16>;
			eink_wav_path       = "/system/default_8_5.awf";
			vcom_path           = "/system/vcom.bin";
			/*VCC-LCD*/
			dc1sw-supply	    = <&reg_dc1sw>;
			/*VCC-PD*/
			dcdc1-supply	    = <&reg_dcdc1>;
			eink_pin_power	    = "dcdc1";
			eink_power	    = "dc1sw";
			pinctrl-0	    = <&eink_pins_a>;
			pinctrl-1	    = <&eink_pins_b>;
		};
/*----------------------------------------------------------------------------------
;lcd0 configuration

;lcd_if:               0:hv(sync+de); 1:8080; 2:ttl; 3:lvds; 4:dsi; 5:edp; 6:extend dsi
;lcd_hv_if             0:Parallel RGB; 8:Serial RGB; 10:Dummy RGB; 11: RGB Dummy;12:CCIR656
;lcd_hv_clk_phase      0:0 degree;1:90 degree;2:180 degree;3:270 degree
;lcd_hv_sync_polarity  0:vs low,hs low; 1:vs high,hslow; 2:vs low,hs high; 3:vs high,hs high
;lcd_hv_syuv_seq       0:YUYV; 1:YVYU; 2:UYVY; 3:VYUY
;lcd_cpu_if            0:18bit/1 cycle parallel(RGB666); 4:16bit/1cycle parallel (RGB565)
;                      6:18bit/3 cycle parallel(RGB666); 7:16bit/2cycle parallel (RGB565)
;lcd_cpu_te            0:frame auto trigger; 1:frame triggered by te rising edge; 2:frame triggered by te falling edge;
;lcd_dsi_if            0:video mode; 1: Command mode; 2:video burst mode
;lcd_dsi_te            0:frame auto trigger; 1:frame triggered by te rising edge; 2:frame triggered by te falling edge;
;lcd_x:                lcd horizontal resolution
;lcd_y:                lcd vertical resolution
;lcd_width:            width of lcd in mm
;lcd_height:           height of lcd in mm
;lcd_dclk_freq:        in MHZ unit
;lcd_pwm_freq:         in HZ unit
;lcd_pwm_pol:          lcd backlight PWM polarity
;lcd_pwm_max_limit     lcd backlight PWM max limit(<=255)
;lcd_hbp:              hsync back porch(pixel) + hsync plus width(pixel);
;lcd_ht:               hsync total cycle(pixel)
;lcd_vbp:              vsync back porch(line) + vysnc plus width(line)
;lcd_vt:               vysnc total cycle(line)
;lcd_hspw:             hsync plus width(pixel)
;lcd_vspw:             vysnc plus width(pixel)
;lcd_lvds_if:          0:single link;  1:dual link
;lcd_lvds_colordepth:  0:8bit; 1:6bit
;lcd_lvds_mode:        0:NS mode; 1:JEIDA mode
;lcd_frm:              0:disable; 1:enable rgb666 dither; 2:enable rgb656 dither
;lcd_io_phase:         0:noraml; 1:intert phase(0~3bit: vsync phase; 4~7bit:hsync phase;
;                      8~11bit:dclk phase; 12~15bit:de phase)
;lcd_gamma_en          lcd gamma correction enable
;lcd_bright_curve_en   lcd bright curve correction enable
;lcd_cmap_en           lcd color map function enable
;deu_mode              0:smoll lcd screen; 1:large lcd screen(larger than 10inch)
;lcdgamma4iep:         Smart Backlight parameter, lcd gamma vale * 10;
;                      decrease it while lcd is not bright enough; increase while lcd is too bright
;smart_color           90:normal lcd screen 65:retina lcd screen(9.7inch)
;Pin setting for special function ie.LVDS, RGB data or vsync
;   name(donot care) = port:PD12<pin function><pull up or pull down><drive ability><output level>
;Pin setting for gpio:
;   lcd_gpio_X     = port:PD12<pin function><pull up or pull down><drive ability><output level>
;Pin setting for backlight enable pin
;   lcd_bl_en     = port:PD12<pin function><pull up or pull down><drive ability><output level>
;fsync setting, pulse to csi
;lcd_fsync_en          (0:disable fsync,1:enable)
;lcd_fsync_act_time    (active time of fsync, unit:pixel)
;lcd_fsync_dis_time    (disactive time of fsync, unit:pixel)
;lcd_fsync_pol         (0:positive;1:negative)
;gpio config: <&pio for cpu or &r_pio for cpus, port, port num, pio function,
pull up or pull down(default 0), driver level(default 1), data>
;For dual link lvds: use lvds2link_pins_a  and lvds2link_pins_b instead
;For rgb24: use rgb24_pins_a  and rgb24_pins_b instead
;For lvds1: use lvds1_pins_a  and lvds1_pins_b instead
;For lvds0: use lvds0_pins_a  and lvds0_pins_b instead
;----------------------------------------------------------------------------------*/

		lcd0: lcd0@01c0c000 {
			lcd_used            = <1>;

			lcd_driver_name     = "st7701s";
			lcd_backlight       = <50>;
			lcd_if              = <4>;

			lcd_x               = <480>;
			lcd_y               = <960>;
			lcd_width           = <23>;
			lcd_height          = <91>;
			lcd_dclk_freq       = <28>;

			lcd_pwm_used        = <1>;
			lcd_pwm_ch          = <3>;
			lcd_pwm_freq        = <50000>;
			lcd_pwm_pol         = <0>;
			lcd_pwm_max_limit   = <255>;


			lcd_hbp             = <60>;
			lcd_ht              = <550>;////
			lcd_hspw            = <20>;
			lcd_vbp             = <35>;
			lcd_vt              = <1020>;
			lcd_vspw            = <5>;

			lcd_dsi_if          = <0>;
			lcd_dsi_lane        = <2>;
			lcd_dsi_te          = <0>;
			lcd_lvds_if         = <0>;
			lcd_lvds_colordepth = <0>;
			lcd_lvds_mode       = <0>;
			lcd_frm             = <0>;
			lcd_hv_clk_phase    = <0>;
			lcd_hv_sync_polarity= <0>;
			lcd_gamma_en        = <0>;
			lcd_bright_curve_en = <0>;
			lcd_cmap_en         = <0>;
			lcd_fsync_en        = <0>;
			lcd_fsync_act_time  = <1000>;
			lcd_fsync_dis_time  = <1000>;
			lcd_fsync_pol       = <0>;

			deu_mode            = <0>;
			lcdgamma4iep        = <22>;
			smart_color         = <90>;

			lcd_pin_power = "eldo3";

			lcd_power = "dc1sw";
			lcd_gpio_0 = <&pio PD 20 1 0 3 1>;
			pinctrl-0 = <&dsi4lane_pins_a>;
			pinctrl-1 = <&dsi4lane_pins_b>;
		};

                wlan: wlan@0 {
                        compatible    = "allwinner,sunxi-wlan";
                        clocks        = <&clk_losc_out>;
                        pinctrl-0;
                        pinctrl-names;
                        wlan_busnum    = <0x1>;
                        wlan_power_voltage = <3300000>;
                        wlan_io_voltage = <1800000>;
			wlan_power_num = <1>;
                        wlan_power1    = "axp803-dldo1";
                        wlan_io_regulator = "axp803-dldo4";
                        wlan_regon    = <&r_pio PL 5 1 0x1 0x2 0>;
                        wlan_hostwake = <&r_pio PL 6 6 0x1 0x2 0>;
                        chip_en;
                        power_en;
                        status        = "okay";
                        wakeup-source;
                };

		/* lvds */
		/*
		lcd0: lcd0@01c0c000 {
			lcd_used            = <1>;

			lcd_driver_name     = "default_lcd";
			lcd_backlight       = <50>;
			lcd_if              = <3>;

			lcd_x               = <1280>;
			lcd_y               = <800>;
			lcd_width           = <150>;
			lcd_height          = <94>;
			lcd_dclk_freq       = <68>;

			lcd_pwm_used        = <1>;
			lcd_pwm_ch          = <0>;
			lcd_pwm_freq        = <50000>;
			lcd_pwm_pol         = <1>;
			lcd_pwm_max_limit   = <255>;


			lcd_hbp             = <20>;
			lcd_ht              = <1418>;
			lcd_hspw            = <10>;
			lcd_vbp             = <10>;
			lcd_vt              = <814>;
			lcd_vspw            = <5>;

			lcd_lvds_if         = <0>;
			lcd_lvds_colordepth = <1>;
			lcd_lvds_mode       = <0>;
			lcd_frm             = <1>;
			lcd_hv_clk_phase    = <0>;
			lcd_hv_sync_polarity= <0>;
			lcd_gamma_en        = <0>;
			lcd_bright_curve_en = <0>;
			lcd_cmap_en         = <0>;
			lcd_fsync_en        = <0>;
			lcd_fsync_act_time  = <1000>;
			lcd_fsync_dis_time  = <1000>;
			lcd_fsync_pol       = <0>;

			deu_mode            = <0>;
			lcdgamma4iep        = <22>;
			smart_color         = <90>;


			lcd_power = "dc1sw";
			lcd_bl_en        = <&r_pio PL 7 1 0 3 1>;
			pinctrl-0 = <&lvds0_pins_a>;
			pinctrl-1 = <&lvds0_pins_b>;

		};
		*/
		ctp {
				device_type = "ctp";
				status = "okay";
				//ctp_name = "cst3xx";
				ctp_name = "chipone_ts";
				ctp_twi_id = <0x2>;
				//ctp_twi_addr = <0x1A>;
				ctp_twi_addr = <0x48>;
				ctp_screen_max_x = <480>;
				ctp_screen_max_y = <960>;
				ctp_revert_x_flag = <0x1>;
				ctp_revert_y_flag = <0x1>;
				ctp_exchange_x_y_flag = <0x1>;
				ctp_int_port = <&pio PE 9 6 1 1 0>;
				ctp_wakeup = <&pio PE 7 1 1 1 1>;
				//ctp-supply = <&reg_ldoio0>;
				//ctp_power_ldo = "axp803-ldoio0";
				//ctp_power_ldo_vol = <3300>;
		};


                bt: bt@0 {
                        compatible    = "allwinner,sunxi-bt";
                        clocks        = <&clk_losc_out>;
                        bt_power_num = <0x01>;
                        bt_power1      = "axp803-dldo1";
                        bt_io_regulator = "axp803-dldo4";
                        bt_io_voltage = <1800000>;
                        bt_power_voltage = <330000>;
                        bt_rst_n      = <&r_pio PL 2 1 0x1 0x2 0>;
                        status        = "okay";
                };

		btlpm: btlpm@0 {
			compatible  = "allwinner,sunxi-btlpm";
			uart_index  = <0x1>;
			bt_wake     = <&r_pio PL 4 1 0x1 0x2 1>;
			bt_hostwake = <&r_pio PL 3 6 0x1 0x2 1>;
			status      = "okay";
		};

		addr_mgt: addr_mgt@0 {
			compatible     = "allwinner,sunxi-addr_mgt";
			type_addr_wifi = <0x0>;
			type_addr_bt   = <0x0>;
			type_addr_eth  = <0x0>;
			status         = "okay";
		};

		uart0: uart@05000000 {
			uart-supply = <&reg_dcdc1>;
		};

		uart1: uart@05000400 {
			status = "okay";
		};
	};

	gpu: gpu@0x01800000 {
			gpu_idle = <1>;
			dvfs_status = <1>;
			pll_rate = <504000>;
			operating-points = <
				 /* KHz   uV */
				//504000 950000
				//472500 950000
				//441000 950000
				252000 950000
			 >;
	};
};

&cpu0 {
	cpu-supply = <&reg_dcdc2>;
};
